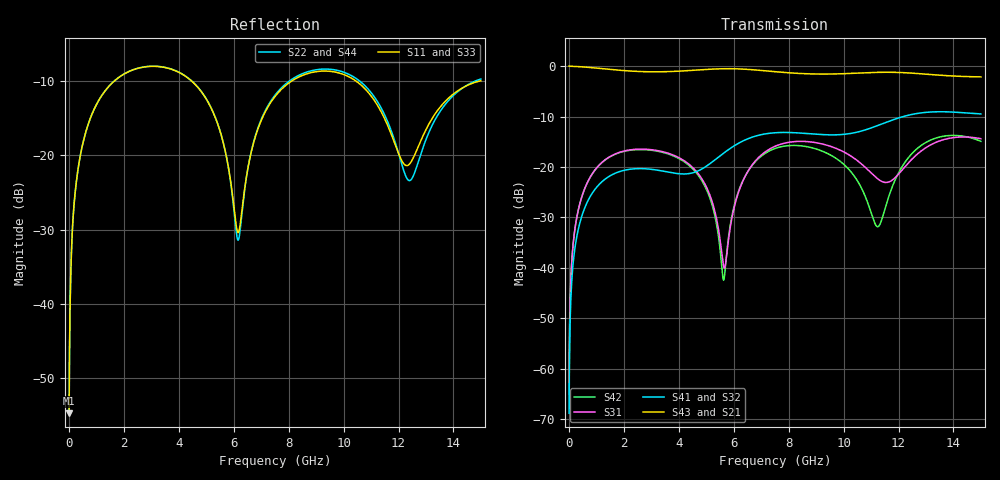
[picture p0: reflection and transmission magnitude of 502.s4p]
! Created with skrf 1.8.0 (http://scikit-rf.org).
# GHz S RI R 50.0
!freq ReS11 ImS11 ReS12 ImS12 ReS13 ImS13
! ReS14 ImS14
! ReS21 ImS21 ReS22 ImS22 ReS23 ImS23
! ReS24 ImS24
! ReS31 ImS31 ReS32 ImS32 ReS33 ImS33
! ReS34 ImS34
! ReS41 ImS41 ReS42 ImS42 ReS43 ImS43
! ReS44 ImS44
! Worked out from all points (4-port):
!   2499 points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, 5 MHz to 15 GHz, reference 50 ohm
!   strongest paths, dB at 5 MHz, 3.476 GHz, 7.19 GHz, 11.1 GHz, 15 GHz:
!     S43: 0.0, -1.1, -1.0, -1.3, -2.1
!     S21: 0.0, -1.1, -1.0, -1.3, -2.2
!     S41: -68.9, -20.9, -13.4, -12.1, -9.5
!     S32: -68.9, -20.9, -13.4, -12.1, -9.5
!     S31: -65.0, -17.1, -16.9, -21.7, -14.4
!     S42: -65.0, -17.2, -17.2, -30.6, -14.9
!   lowest |S11| = -54.7 dB at 5 MHz (marker M1), VSWR 1.00, Z = 50.1 + j0.112 ohm
!   |S11| at or under -10 dB: start of sweep to 1.657 GHz; 4.459 GHz to 8.119 GHz (3.66 GHz wide, 58.2 % of centre); 10.44 GHz to 14.98 GHz (4.537 GHz wide, 35.7 % of centre)
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0.005  0.00146 0.00111  0.9985 -0.00285  7.21e-05 0.000557  -7.02e-05 -0.000352
       0.9985 -0.00285  0.00146 0.00111  -7.02e-05 -0.000352  7.21e-05 0.000557
       7.21e-05 0.000557  -7.02e-05 -0.000352  0.00146 0.00111  0.9985 -0.00285
       -7.02e-05 -0.000352  7.21e-05 0.000557  0.9985 -0.00285  0.00146 0.00111
0.3126303  0.0198 0.074  0.9731 -0.1779  0.00869 0.0335  -0.00721 -0.0211
           0.9731 -0.1779  0.0198 0.074  -0.00721 -0.0211  0.00852 0.0335
           0.00869 0.0335  -0.00721 -0.0211  0.0198 0.074  0.9731 -0.1779
           -0.00721 -0.0211  0.00852 0.0335  0.9731 -0.1779  0.0198 0.074
1.569404  0.2393 0.1902  0.6143 -0.6897  0.1126 0.0647  -0.082 -0.0164
          0.6143 -0.6897  0.2401 0.1897  -0.082 -0.0164  0.1103 0.0674
          0.1126 0.0647  -0.082 -0.0164  0.2392 0.1901  0.6143 -0.6897
          -0.082 -0.0164  0.1103 0.0674  0.6143 -0.6897  0.24 0.1897
5.958733  0.033 -0.042  -0.9291 -0.1539  -0.00471 0.0334  -0.0226 0.1566
          -0.9291 -0.1539  0.0294 -0.0426  -0.023 0.1565  -0.0056 0.0348
          -0.00471 0.0334  -0.023 0.1565  0.0329 -0.0402  -0.9292 -0.1537
          -0.0226 0.1566  -0.0056 0.0348  -0.9292 -0.1537  0.0289 -0.0409
9.547728  0.3648 -0.0302  0.0204 0.8349  0.1146 -0.1105  0.1991 -0.0597
          0.0204 0.8349  0.3755 -0.0432  0.1992 -0.0587  0.1143 -0.0622
          0.1146 -0.1105  0.1992 -0.0587  0.3662 -0.03  0.0191 0.8344
          0.1991 -0.0597  0.1143 -0.0622  0.0191 0.8344  0.3767 -0.0423
11.24218  0.1664 -0.137  0.6561 0.5671  -0.058 -0.0494  0.164 -0.1983
          0.6561 0.5671  0.1619 -0.1607  0.165 -0.1976  -0.0234 -0.0101
          -0.058 -0.0494  0.165 -0.1976  0.1685 -0.1379  0.654 0.569
          0.164 -0.1983  -0.0234 -0.0101  0.654 0.569  0.1633 -0.1621
15  0.3129 0.0501  0.3049 -0.7177  0.1759 -0.0729  -0.3281 -0.0694
    0.3049 -0.7177  0.3201 0.0594  -0.3268 -0.0713  0.1737 -0.0441
    0.1759 -0.0729  -0.3268 -0.0713  0.3087 0.0478  0.3103 -0.7178
    -0.3281 -0.0694  0.1737 -0.0441  0.3103 -0.7178  0.3131 0.0615
